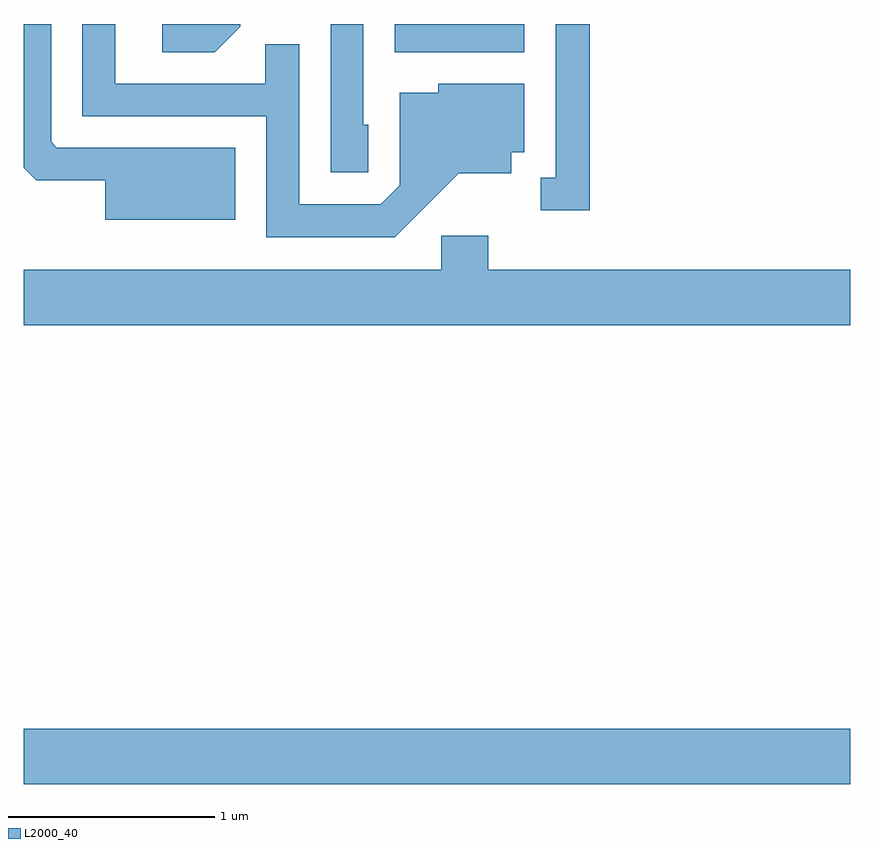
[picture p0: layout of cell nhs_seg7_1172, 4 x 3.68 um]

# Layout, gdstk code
import gdstk
lib = gdstk.Library(unit=1e-6, precision=1e-09)
def R(c, l, rs):  # rectangles x0, y0, x1, y1
    for r in rs: c.add(gdstk.rectangle(r[:2], r[2:], *l))
def P(c, l, *ps):  # polygons
    for p in ps: c.add(gdstk.Polygon(p, *l))
L2000_40 = (2000, 40)

nhs_seg7_1172 = lib.new_cell('nhs_seg7_1172')
R(nhs_seg7_1172, L2000_40, [(221.611,1676.576,225.611,1676.844), (223.406,1680.116,224.034,1680.252)])
P(nhs_seg7_1172, L2000_40, [(223.279,1679.764),(223.254,1679.764),(223.254,1680.252),(223.096,1680.252),(223.096,1679.536),(223.279,1679.536)],
  [(222.659,1680.239),(222.659,1680.252),(222.281,1680.252),(222.281,1680.116),(222.537,1680.116)],
  [(224.349,1680.252),(224.186,1680.252),(224.186,1679.509),(224.113,1679.509),(224.113,1679.351),(224.349,1679.351)],
  [(223.717,1679.531),(223.969,1679.531),(223.969,1679.631),(224.034,1679.631),(224.034,1679.964),(223.616,1679.964),(223.616,1679.919),(223.431,1679.919),(223.431,1679.472),(223.339,1679.379),(222.944,1679.379),(222.944,1680.153),(222.781,1680.153),(222.781,1679.964),(222.054,1679.964),(222.054,1680.252),(221.896,1680.252),(221.896,1679.806),(222.786,1679.806),(222.786,1679.221),(223.407,1679.221)],
  [(222.634,1679.654),(221.772,1679.654),(221.744,1679.682),(221.744,1680.252),(221.611,1680.252),(221.611,1679.557),(221.672,1679.496),(222.006,1679.496),(222.006,1679.306),(222.634,1679.306)],
  [(225.611,1679.064),(223.859,1679.064),(223.859,1679.229),(223.631,1679.229),(223.631,1679.064),(221.611,1679.064),(221.611,1678.796),(225.611,1678.796)])

lib.write_gds('nhs_seg7_1172.gds')
